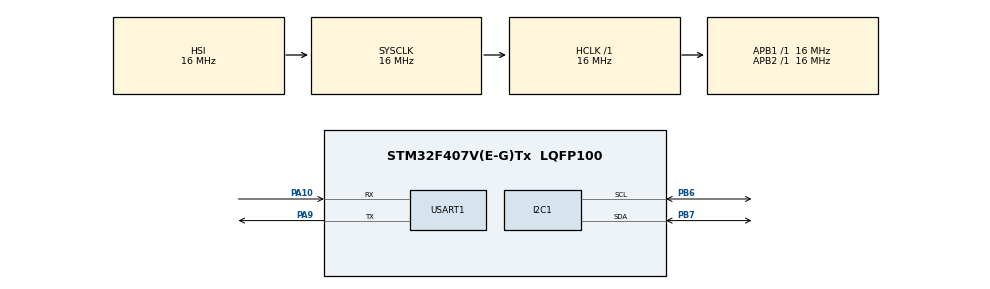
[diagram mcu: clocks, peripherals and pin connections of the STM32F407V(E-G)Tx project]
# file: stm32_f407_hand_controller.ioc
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Mcu.Family=STM32F4
Mcu.Name=STM32F407V(E-G)Tx
Mcu.Package=LQFP100
NVIC.PriorityGroup=NVIC_PRIORITYGROUP_4
NVIC.USART1_IRQn=true\:0\:0\:false\:false\:true\:true\:true\:true
PA10.Mode=Asynchronous
PA10.Signal=USART1_RX
PA13.Mode=Serial_Wire
PA13.Signal=SYS_JTMS-SWDIO
PA14.Mode=Serial_Wire
PA14.Signal=SYS_JTCK-SWCLK
PA9.Mode=Asynchronous
PA9.Signal=USART1_TX
PB6.Mode=I2C
PB6.Signal=I2C1_SCL
PB7.Mode=I2C
PB7.Signal=I2C1_SDA
PH0-OSC_IN.Mode=HSE-External-Oscillator
PH0-OSC_IN.Signal=RCC_OSC_IN
PH1-OSC_OUT.Mode=HSE-External-Oscillator
PH1-OSC_OUT.Signal=RCC_OSC_OUT
ProjectManager.HeapSize=0x200
ProjectManager.StackSize=0x400
ProjectManager.TargetToolchain=MDK-ARM V5.32
RCC.AHBFreq_Value=16000000
RCC.APB1Freq_Value=16000000
RCC.APB2Freq_Value=16000000
RCC.CortexFreq_Value=16000000
RCC.HSE_VALUE=25000000
RCC.HSI_VALUE=16000000
RCC.LSE_VALUE=32768
RCC.SYSCLKFreq_VALUE=16000000
RCC.VCOOutputFreq_Value=192000000
USART1.VirtualMode=VM_ASYNC
board=custom

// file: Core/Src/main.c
/* USER CODE BEGIN Header */
/**
  ******************************************************************************
  * @file           : main.c
  * @brief          : Main program body
  ******************************************************************************
  * @attention
  *
  * Copyright (c) 2026 STMicroelectronics.
  * All rights reserved.
  *
  * This software is licensed under terms that can be found in the LICENSE file
  * in the root directory of this software component.
  * If no LICENSE file comes with this software, it is provided AS-IS.
  *
  ******************************************************************************
  */
/* USER CODE END Header */
#include "main.h"
#include "i2c.h"
#include "usart.h"
#include "gpio.h"

/* USER CODE BEGIN Includes */
#include "hand_protocol.h"
#include "hand_servo.h"
#include <string.h>
#include <stdio.h>

/* USER CODE END Includes */

/* USER CODE BEGIN PV */
#define UART_RX_BUF_SIZE	64

uint8_t uart_rx_byte=0;
char uart_line_buf[UART_RX_BUF_SIZE];
uint8_t uart_line_index=0;

volatile uint8_t hand_action_pending=0;
volatile hand_action_t hand_pending_action=HAND_ACTION_NONE;

/* USER CODE END PV */

void SystemClock_Config(void);
/* USER CODE BEGIN PFP */

static const char * hand_action_to_ack_name(hand_action_t  action);
/* USER CODE END PFP */

int main(void)
{

  /* MCU Configuration--------------------------------------------------------*/

  /* Reset of all peripherals, Initializes the Flash interface and the Systick. */
  HAL_Init();

  /* Configure the system clock */
  SystemClock_Config();

  /* Initialize all configured peripherals */
  MX_GPIO_Init();
  MX_I2C1_Init();
  MX_USART1_UART_Init();
  /* USER CODE BEGIN 2 */
	if(hand_servo_init(&hi2c1)==HAL_OK)
	{
		char msg[]="PCA9685 init OK\r\n";
		HAL_UART_Transmit(&huart1,(uint8_t*)msg,strlen(msg),100);
	}
	else
	{
		char msg[]="PCA9685 init FAIL\r\n";
		HAL_UART_Transmit(&huart1,(uint8_t*)msg,strlen(msg),100);
	}
	HAL_UART_Receive_IT(&huart1,&uart_rx_byte,1);

  /* USER CODE END 2 */

  /* Infinite loop */
  /* USER CODE BEGIN WHILE */
  while (1)
  {
		    if (hand_action_pending) {
        hand_action_t action;
				HAL_StatusTypeDef action_ret;
				char ack_msg[64];

        __disable_irq();
        action = hand_pending_action;
        hand_action_pending = 0;
        __enable_irq();

				action_ret=hand_servo_apply_action(action);

					snprintf(ack_msg, sizeof(ack_msg), "ACTION:%s %s\r\n", hand_action_to_ack_name(action),(action_ret==HAL_OK)?"OK":"FAIL");
            HAL_UART_Transmit(&huart1, (uint8_t *)ack_msg, strlen(ack_msg), 100);

    }

    /* USER CODE END WHILE */

  }
}

void SystemClock_Config(void)
{
  RCC_OscInitTypeDef RCC_OscInitStruct = {0};
  RCC_ClkInitTypeDef RCC_ClkInitStruct = {0};

  /** Configure the main internal regulator output voltage
  */
  __HAL_RCC_PWR_CLK_ENABLE();
  __HAL_PWR_VOLTAGESCALING_CONFIG(PWR_REGULATOR_VOLTAGE_SCALE1);

  /** Initializes the RCC Oscillators according to the specified parameters
  * in the RCC_OscInitTypeDef structure.
  */
  RCC_OscInitStruct.OscillatorType = RCC_OSCILLATORTYPE_HSI;
  RCC_OscInitStruct.HSIState = RCC_HSI_ON;
  RCC_OscInitStruct.HSICalibrationValue = RCC_HSICALIBRATION_DEFAULT;
  RCC_OscInitStruct.PLL.PLLState = RCC_PLL_NONE;
  if (HAL_RCC_OscConfig(&RCC_OscInitStruct) != HAL_OK)
  {
    Error_Handler();
  }

  /** Initializes the CPU, AHB and APB buses clocks
  */
  RCC_ClkInitStruct.ClockType = RCC_CLOCKTYPE_HCLK|RCC_CLOCKTYPE_SYSCLK
                              |RCC_CLOCKTYPE_PCLK1|RCC_CLOCKTYPE_PCLK2;
  RCC_ClkInitStruct.SYSCLKSource = RCC_SYSCLKSOURCE_HSI;
  RCC_ClkInitStruct.AHBCLKDivider = RCC_SYSCLK_DIV1;
  RCC_ClkInitStruct.APB1CLKDivider = RCC_HCLK_DIV1;
  RCC_ClkInitStruct.APB2CLKDivider = RCC_HCLK_DIV1;

  if (HAL_RCC_ClockConfig(&RCC_ClkInitStruct, FLASH_LATENCY_0) != HAL_OK)
  {
    Error_Handler();
  }
}

/* USER CODE BEGIN 4 */
static const char * hand_action_to_ack_name(hand_action_t action)
{
	switch(action){
		case	HAND_ACTION_OPEN:
			return "HAND_OPEN";

		case	HAND_ACTION_GRAB:
			return "HAND_GRAB";

		case	HAND_ACTION_RELEASE:
			return "HAND_RELEASE";

		case	HAND_ACTION_STOP:
			return "HAND_STOP";

		case	HAND_ACTION_NONE:
		default:
			return "HAND_NONE";
	}
}

void HAL_UART_RxCpltCallback(UART_HandleTypeDef *huart)
{
    if (huart->Instance == USART1) {
        if (uart_rx_byte == '\n') {
            uart_line_buf[uart_line_index] = '\0';

            if (uart_line_index > 0) {
                hand_pending_action = hand_protocol_parse(uart_line_buf);
                hand_action_pending = 1;
            }

            uart_line_index = 0;
        } else if (uart_rx_byte != '\r') {
            if (uart_line_index < UART_RX_BUF_SIZE - 1) {
                uart_line_buf[uart_line_index++] = uart_rx_byte;
            } else {
                uart_line_index = 0;
            }
        }

        HAL_UART_Receive_IT(&huart1, &uart_rx_byte, 1);
    }
}
/* USER CODE END 4 */

void Error_Handler(void)
{
  __disable_irq();
  while (1)
  {
  }
}
